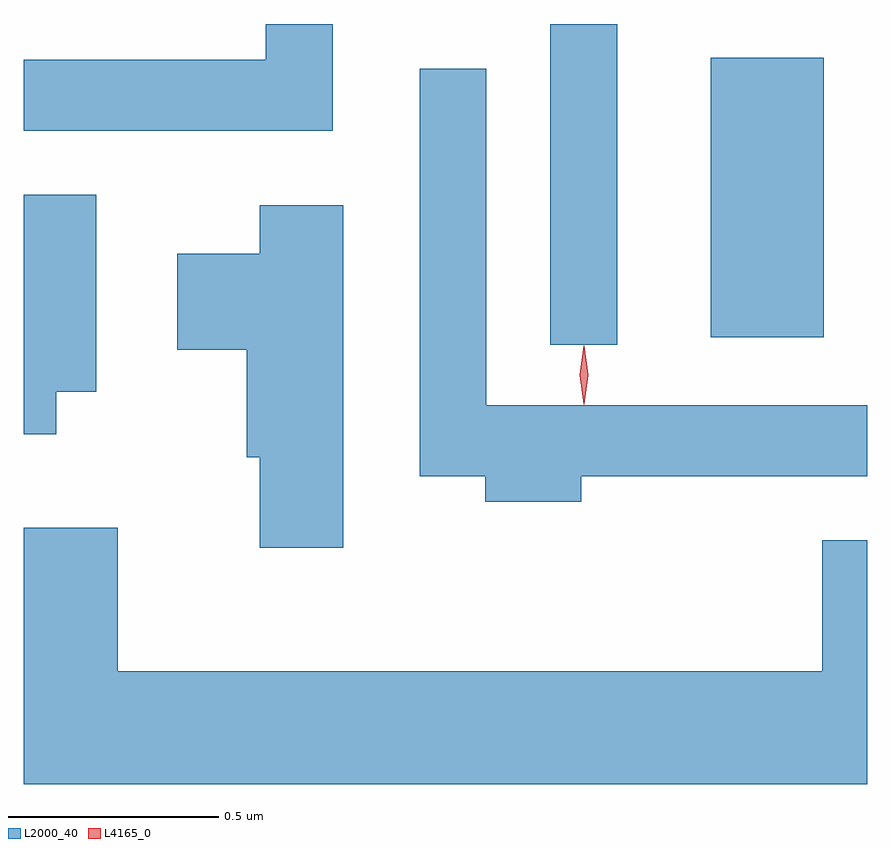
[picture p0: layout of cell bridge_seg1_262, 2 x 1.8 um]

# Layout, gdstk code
import gdstk
lib = gdstk.Library(unit=1e-6, precision=1e-09)
def R(c, l, rs):  # rectangles x0, y0, x1, y1
    for r in rs: c.add(gdstk.rectangle(r[:2], r[2:], *l))
def P(c, l, *ps):  # polygons
    for p in ps: c.add(gdstk.Polygon(p, *l))
L2000_40 = (2000, 40)
L4165_0 = (4165, 0)

bridge_seg1_262 = lib.new_cell('bridge_seg1_262')
R(bridge_seg1_262, L2000_40, [(957.836,887.298,957.994,888.059), (958.216,887.316,958.484,887.979)])
P(bridge_seg1_262, L2000_40, [(957.319,888.059),(957.161,888.059),(957.161,887.974),(956.587,887.974),(956.587,887.806),(957.319,887.806)],
  [(957.909,886.986),(958.587,886.986),(958.587,887.154),(957.684,887.154),(957.684,887.953),(957.526,887.953),(957.526,886.986),(957.681,886.986),(957.681,886.926),(957.909,886.926)],
  [(956.664,887.186),(956.759,887.186),(956.759,887.654),(956.587,887.654),(956.587,887.086),(956.664,887.086)],
  [(957.344,887.629),(957.146,887.629),(957.146,887.514),(956.951,887.514),(956.951,887.286),(957.116,887.286),(957.116,887.031),(957.146,887.031),(957.146,886.816),(957.344,886.816)],
  [(958.587,886.834),(958.481,886.834),(958.481,886.524),(956.809,886.524),(956.809,886.864),(956.587,886.864),(956.587,886.256),(958.587,886.256)])
P(bridge_seg1_262, L4165_0, [(957.915,887.157),(957.906,887.227),(957.915,887.296),(957.916,887.296),(957.916,887.296),(957.926,887.227),(957.916,887.157),(957.916,887.157)],
  [(957.916,887.159),(957.915,887.16),(957.906,887.226),(957.915,887.292),(957.916,887.293),(957.916,887.292),(957.926,887.226),(957.916,887.16)])

lib.write_gds('bridge_seg1_262.gds')
